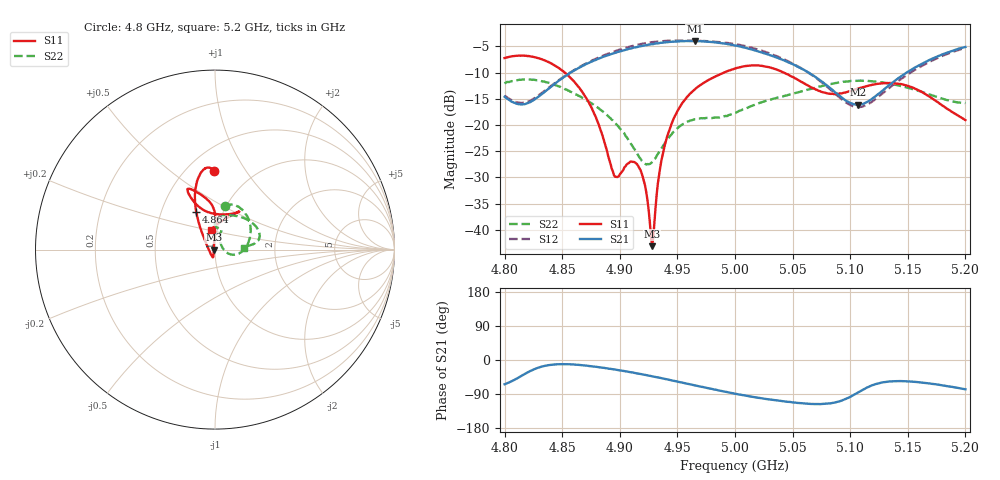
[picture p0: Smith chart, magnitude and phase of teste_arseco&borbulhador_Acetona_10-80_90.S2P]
! Network Analyzer HP8722D
! Hewlett-Packard
! Data name: Linha & Wilkinson
! Saver's name: Rodrigo Anjos
! Comments: Teste da utilização de aquisição
! continua pelo VNA HP8722D
! Time and date: 25/4/2025 16:01
!  Frequency  S11  S21  S12  S22
# HZ  S  MA R 50
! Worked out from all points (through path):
!   401 points, 4.8 GHz to 5.2 GHz, reference 50 ohm
!   highest |S21| = -3.98 dB at 4.965 GHz (marker M1); lowest = -16.1 dB at 5.107 GHz (marker M2)
!   lowest |S11| = -43.1 dB at 4.928 GHz (marker M3), VSWR 1.01, Z = 49.3 - j0.069 ohm
!   |S11| at or under -10 dB: 4.852 GHz to 4.99 GHz (138.3 MHz wide, 2.81 % of centre); 5.042 GHz to end of sweep
!   |S22| runs from -27.5 to -11.3 dB; largest |S21 - S12| = 1.2
!   S11 on the Smith chart (normalised r, x): 4.8 GHz: 0.68, +0.72; 4.864 GHz: 0.75, +0.33; 5.2 GHz: 0.94, +0.21
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4.8e9  0.4352 90.7  0.1857 -64.0  0.1909 69.6  0.2482 77.1
4.82e9  0.4537 97.0  0.1613 -32.6  0.1666 98.3  0.2733 61.7
4.864e9  0.2324 116.6  0.3493 -12.8  0.3518 121.1  0.1902 12.3
4.867e9  0.2097 118.4  0.3627 -13.8  0.3671 120.7  0.1828 8.9
4.88e9  0.1121 128.4  0.4216 -18.2  0.4317 118.2  0.1488 -5.2
4.896e9  0.03205 -166.5  0.4873 -25.3  0.5066 113.3  0.1045 -15.8
4.909e9  0.04454 -107.8  0.5355 -32.1  0.5594 107.7  0.06748 -14.1
4.917e9  0.03863 -103.1  0.5606 -36.5  0.5878 103.6  0.04899 -1.2
4.922e9  0.02623 -106.8  0.5744 -39.2  0.6019 100.8  0.04267 16.7
4.928e9  0.006973 -174.2  0.5905 -42.8  0.6172 97.1  0.0441 40.3
4.93e9  0.0117 121.8  0.5954 -44.3  0.619 95.7  0.04747 47.4
4.934e9  0.03276 99.4  0.6024 -46.6  0.6283 93.4  0.055 57.8
4.939e9  0.0639 92.8  0.6131 -49.7  0.6343 90.1  0.06679 65.4
4.946e9  0.1097 89.9  0.6237 -54.4  0.6375 85.8  0.08463 69.8
4.965e9  0.2182 91.0  0.6325 -67.0  0.6385 73.5  0.1133 71.5
5e9  0.3458 109.1  0.5722 -89.2  0.5923 50.8  0.1306 88.4
5.03e9  0.355 115.3  0.4648 -104.1  0.4812 33.8  0.173 85.3
5.067e9  0.2267 105.3  0.3013 -115.9  0.2983 23.5  0.2218 57.3
5.107e9  0.2224 64.2  0.1559 -85.5  0.1478 57.6  0.264 24.2
5.134e9  0.2515 57.4  0.2406 -56.6  0.226 88.7  0.2482 12.4
5.168e9  0.189 69.4  0.4133 -61.7  0.3961 85.3  0.1963 7.0
5.2e9  0.1114 100.6  0.5551 -77.4  0.5433 70.2  0.1616 3.9
